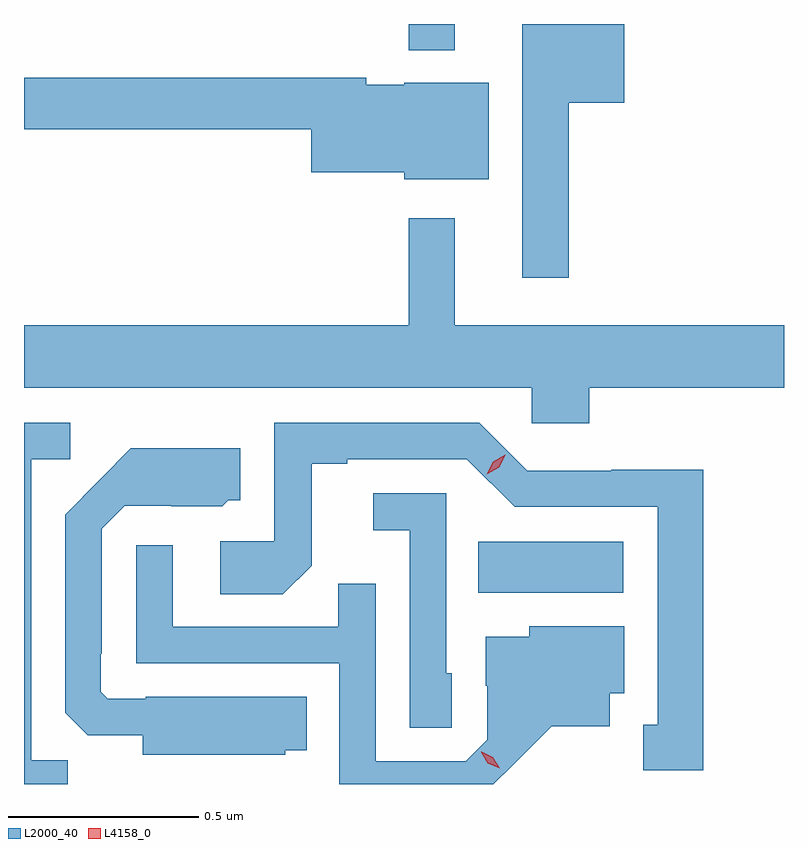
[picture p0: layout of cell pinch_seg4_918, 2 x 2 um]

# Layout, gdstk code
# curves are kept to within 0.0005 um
import gdstk
lib = gdstk.Library(unit=1e-6, precision=1e-09)
def R(c, l, rs):  # rectangles x0, y0, x1, y1
    for r in rs: c.add(gdstk.rectangle(r[:2], r[2:], *l))
def P(c, l, *ps):  # polygons
    for p in ps: c.add(gdstk.Polygon(p, *l))
L2000_40 = (2000, 40)
L4158_0 = (4158, 0)

pinch_seg4_918 = lib.new_cell('pinch_seg4_918')
R(pinch_seg4_918, L2000_40, [(710.35,826.916,710.731,827.05), (710.166,828.344,710.287,828.413)])
P(pinch_seg4_918, L2000_40, [(710.587,828.206),(710.734,828.206),(710.734,828.413),(710.465,828.413),(710.465,827.745),(710.587,827.745)],
  [(710.377,828.259),(710.154,828.259),(710.154,828.253),(710.054,828.253),(710.054,828.272),(709.154,828.272),(709.154,828.136),(709.91,828.136),(709.91,828.023),(710.154,828.023),(710.154,828.005),(710.377,828.005)],
  [(710.642,827.456),(711.154,827.456),(711.154,827.62),(710.287,827.62),(710.287,827.902),(710.166,827.902),(710.166,827.62),(709.154,827.62),(709.154,827.456),(710.49,827.456),(710.49,827.363),(710.642,827.363)],
  [(709.269,826.475),(709.173,826.475),(709.173,827.268),(709.276,827.268),(709.276,827.364),(709.154,827.364),(709.154,826.413),(709.269,826.413)],
  [(710.941,827.24),(710.7,827.24),(710.7,827.238),(710.478,827.238),(710.352,827.364),(709.812,827.364),(709.812,827.052),(709.671,827.052),(709.671,826.912),(709.835,826.912),(709.911,826.988),(709.911,827.256),(710.005,827.256),(710.005,827.268),(710.319,827.268),(710.445,827.142),(710.822,827.142),(710.822,826.569),(710.783,826.569),(710.783,826.449),(710.941,826.449)],
  [(709.842,826.502),(709.898,826.502),(709.898,826.642),(709.474,826.642),(709.474,826.638),(709.374,826.638),(709.356,826.656),(709.356,826.756),(709.359,826.756),(709.359,827.085),(709.419,827.145),(709.542,827.145),(709.542,827.144),(709.676,827.144),(709.692,827.16),(709.723,827.16),(709.723,827.296),(709.435,827.296),(709.263,827.122),(709.263,826.6),(709.322,826.541),(709.466,826.541),(709.466,826.49),(709.842,826.49)],
  [(710.28,826.704),(710.265,826.704),(710.265,827.178),(710.073,827.178),(710.073,827.081),(710.169,827.081),(710.169,826.561),(710.28,826.561)],
  [(710.44,826.463),(710.543,826.565),(710.695,826.565),(710.695,826.652),(710.734,826.652),(710.734,826.828),(710.484,826.828),(710.484,826.801),(710.369,826.801),(710.369,826.672),(710.373,826.672),(710.373,826.53),(710.316,826.473),(710.079,826.473),(710.079,826.94),(709.981,826.94),(709.981,826.827),(709.545,826.827),(709.545,827.041),(709.449,827.041),(709.449,826.731),(709.983,826.731),(709.983,826.413),(710.389,826.413)])
P(pinch_seg4_918, L4158_0, [(710.406,826.454),(710.375,826.468),(710.357,826.497),(710.357,826.498),(710.358,826.498),(710.388,826.483),(710.406,826.454),(710.406,826.454)],
  [(710.372,827.228),(710.372,827.228),(710.389,827.261),(710.421,827.28),(710.421,827.28),(710.421,827.28),(710.404,827.247),(710.372,827.228)])

lib.write_gds('pinch_seg4_918.gds')
